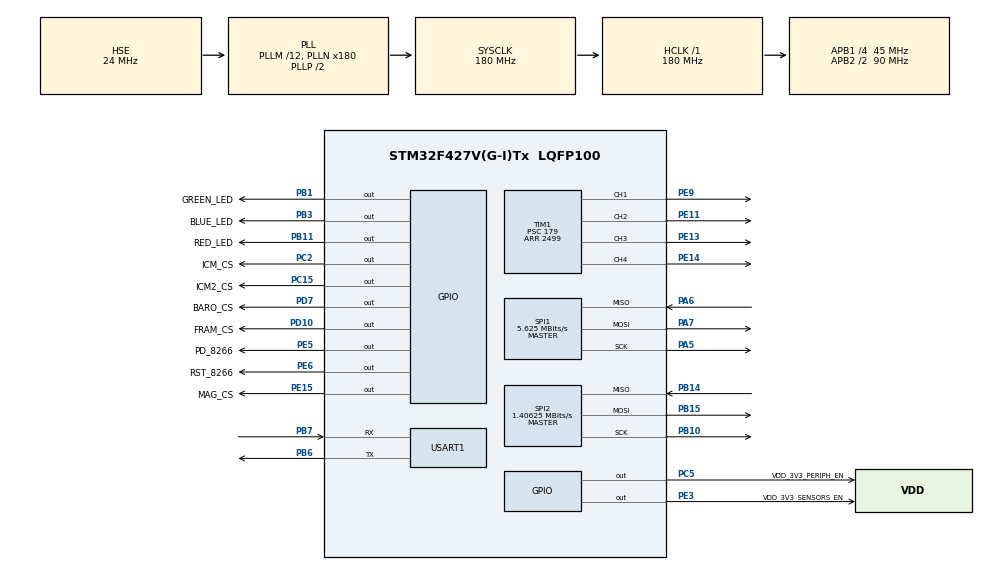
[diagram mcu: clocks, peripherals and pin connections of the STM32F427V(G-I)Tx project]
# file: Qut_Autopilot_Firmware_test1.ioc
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Mcu.Family=STM32F4
Mcu.Name=STM32F427V(G-I)Tx
Mcu.Package=LQFP100
NVIC.PriorityGroup=NVIC_PRIORITYGROUP_4
PA13.Mode=Serial_Wire
PA13.Signal=SYS_JTMS-SWDIO
PA14.Mode=Serial_Wire
PA14.Signal=SYS_JTCK-SWCLK
PA5.Mode=Full_Duplex_Master
PA5.Signal=SPI1_SCK
PA6.Mode=Full_Duplex_Master
PA6.Signal=SPI1_MISO
PA7.Mode=Full_Duplex_Master
PA7.Signal=SPI1_MOSI
PB1.GPIO_Label=GREEN_LED
PB1.PinState=GPIO_PIN_SET
PB1.Signal=GPIO_Output
PB10.Mode=Full_Duplex_Master
PB10.Signal=SPI2_SCK
PB11.GPIO_Label=RED_LED
PB11.PinState=GPIO_PIN_SET
PB11.Signal=GPIO_Output
PB14.Mode=Full_Duplex_Master
PB14.Signal=SPI2_MISO
PB15.Mode=Full_Duplex_Master
PB15.Signal=SPI2_MOSI
PB3.GPIO_Label=BLUE_LED
PB3.PinState=GPIO_PIN_SET
PB3.Signal=GPIO_Output
PB6.Mode=Asynchronous
PB6.Signal=USART1_TX
PB7.Mode=Asynchronous
PB7.Signal=USART1_RX
PC15/OSC32_OUT.GPIO_Label=ICM2_CS
PC15/OSC32_OUT.PinState=GPIO_PIN_SET
PC15/OSC32_OUT.Signal=GPIO_Output
PC2.GPIO_Label=ICM_CS
PC2.PinState=GPIO_PIN_SET
PC2.Signal=GPIO_Output
PC5.GPIO_Label=VDD_3V3_PERIPH_EN
PC5.PinState=GPIO_PIN_SET
PC5.Signal=GPIO_Output
PD10.GPIO_Label=FRAM_CS
PD10.PinState=GPIO_PIN_SET
PD10.Signal=GPIO_Output
PD7.GPIO_Label=BARO_CS
PD7.PinState=GPIO_PIN_SET
PD7.Signal=GPIO_Output
PE11.Signal=S_TIM1_CH2
PE13.Signal=S_TIM1_CH3
PE14.Signal=S_TIM1_CH4
PE15.GPIO_Label=MAG_CS
PE15.PinState=GPIO_PIN_SET
PE15.Signal=GPIO_Output
PE3.GPIO_Label=VDD_3V3_SENSORS_EN
PE3.PinState=GPIO_PIN_SET
PE3.Signal=GPIO_Output
PE5.GPIO_Label=PD_8266
PE5.Signal=GPIO_Output
PE6.GPIO_Label=RST_8266
PE6.Signal=GPIO_Output
PE9.Signal=S_TIM1_CH1
PH0/OSC_IN.Mode=HSE-External-Oscillator
PH0/OSC_IN.Signal=RCC_OSC_IN
PH1/OSC_OUT.Mode=HSE-External-Oscillator
PH1/OSC_OUT.Signal=RCC_OSC_OUT
ProjectManager.HeapSize=0x200
ProjectManager.StackSize=0x400
ProjectManager.TargetToolchain=STM32CubeIDE
RCC.48MHZClocksFreq_Value=90000000
RCC.AHBFreq_Value=180000000
RCC.APB1CLKDivider=RCC_HCLK_DIV4
RCC.APB1Freq_Value=45000000
RCC.APB1TimFreq_Value=90000000
RCC.APB2CLKDivider=RCC_HCLK_DIV2
RCC.APB2Freq_Value=90000000
RCC.APB2TimFreq_Value=180000000
RCC.CortexFreq_Value=180000000
RCC.HCLKFreq_Value=180000000
RCC.HSE_VALUE=24000000
RCC.HSI_VALUE=16000000
RCC.LSE_VALUE=32768
RCC.PLLM=12
RCC.PLLN=180
RCC.PLLSourceVirtual=RCC_PLLSOURCE_HSE
RCC.SYSCLKFreq_VALUE=180000000
RCC.SYSCLKSource=RCC_SYSCLKSOURCE_PLLCLK
RCC.VCOOutputFreq_Value=360000000
SH.S_TIM1_CH1.0=TIM1_CH1,PWM Generation1 CH1
SH.S_TIM1_CH2.0=TIM1_CH2,PWM Generation2 CH2
SH.S_TIM1_CH3.0=TIM1_CH3,PWM Generation3 CH3
SH.S_TIM1_CH4.0=TIM1_CH4,PWM Generation4 CH4
SPI1.BaudRatePrescaler=SPI_BAUDRATEPRESCALER_16
SPI1.CLKPhase=SPI_PHASE_2EDGE
SPI1.CLKPolarity=SPI_POLARITY_HIGH
SPI1.CalculateBaudRate=5.625 MBits/s
SPI1.Direction=SPI_DIRECTION_2LINES
SPI1.Mode=SPI_MODE_MASTER
SPI1.VirtualType=VM_MASTER
SPI2.BaudRatePrescaler=SPI_BAUDRATEPRESCALER_32
SPI2.CLKPhase=SPI_PHASE_2EDGE
SPI2.CLKPolarity=SPI_POLARITY_HIGH
SPI2.CalculateBaudRate=1.40625 MBits/s
SPI2.Direction=SPI_DIRECTION_2LINES
SPI2.Mode=SPI_MODE_MASTER
SPI2.VirtualType=VM_MASTER
TIM1.Channel-PWM\ Generation1\ CH1=TIM_CHANNEL_1
TIM1.Channel-PWM\ Generation2\ CH2=TIM_CHANNEL_2
TIM1.Channel-PWM\ Generation3\ CH3=TIM_CHANNEL_3
TIM1.Channel-PWM\ Generation4\ CH4=TIM_CHANNEL_4
TIM1.Period=2499
TIM1.Prescaler=179
TIM1.Pulse-PWM\ Generation2\ CH2=1000
TIM1.Pulse-PWM\ Generation3\ CH3=1000
TIM1.Pulse-PWM\ Generation4\ CH4=1000
USART1.VirtualMode=VM_ASYNC
board=custom

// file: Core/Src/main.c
/* USER CODE BEGIN Header */
/**
 * *****************************************************************************
 * @file           : main.c
 * @brief          : Main program body
 ******************************************************************************
 * @attention
 *
 * Copyright (c) 2026 STMicroelectronics.
 * All rights reserved.
 *
 * This software is licensed under terms that can be found in the LICENSE file
 * in the root directory of this software component.
 * If no LICENSE file comes with this software, it is provided AS-IS.
 *
 ******************************************************************************
 */
/* USER CODE END Header */
#include "main.h"

SPI_HandleTypeDef hspi1;
SPI_HandleTypeDef hspi2;

TIM_HandleTypeDef htim1;

UART_HandleTypeDef huart1;

/* USER CODE BEGIN PV */
int16_t x_offset = 0;
int16_t y_offset = 0;

extern TIM_HandleTypeDef htim1; // Reference the handle created by MX
/* USER CODE END PV */

void SystemClock_Config(void);
static void MX_GPIO_Init(void);
static void MX_SPI1_Init(void);
static void MX_SPI2_Init(void);
static void MX_USART1_UART_Init(void);
static void MX_TIM1_Init(void);

int main(void)
{

  /* MCU Configuration--------------------------------------------------------*/

  /* Reset of all peripherals, Initializes the Flash interface and the Systick. */
  HAL_Init();

  /* Configure the system clock */
  SystemClock_Config();

  /* Initialize all configured peripherals */
  MX_GPIO_Init();
  MX_SPI1_Init();
  MX_SPI2_Init();
  MX_USART1_UART_Init();
  MX_TIM1_Init();
  /* USER CODE BEGIN 2 */

  /* 1. SPI BUS SILENCE & POWER-UP */
  // Silence SPI1 (Main Sensors)
  HAL_GPIO_WritePin(GPIOC, ICM_CS_Pin, GPIO_PIN_SET);        // PC2 [cite: 152]
  HAL_GPIO_WritePin(GPIOC, ICM2_CS_Pin, GPIO_PIN_SET);       // PC15 [cite: 217]
  HAL_GPIO_WritePin(GPIOE, MAG_CS_Pin, GPIO_PIN_SET);        // PE14 [cite: 284]

  // Silence SPI2 (Baro & FRAM) - CRITICAL to prevent bus noise
  HAL_GPIO_WritePin(GPIOD, BARO_CS_Pin, GPIO_PIN_SET);       // PD7 [cite: 177]
  HAL_GPIO_WritePin(GPIOD, FRAM_CS_Pin, GPIO_PIN_SET);       // PD10 (Corrected FRAM_CS)

  // LEDs OFF (Active-Low)
  HAL_GPIO_WritePin(GPIOB, GREEN_LED_Pin|RED_LED_Pin|BLUE_LED_Pin, GPIO_PIN_SET);

  // Enable sensor power rails
  HAL_GPIO_WritePin(GPIOE, VDD_3V3_SENSORS_EN_Pin, GPIO_PIN_SET); // PE3 [cite: 233]
  HAL_GPIO_WritePin(GPIOC, VDD_3V3_PERIPH_EN_Pin, GPIO_PIN_SET);  // PC4 [cite: 165]
  HAL_Delay(200); // Stabilization time

  uint8_t id_reg, id_val;
  uint16_t C[7]; // MS5611 Calibration coefficients
  /* --- SPI1 TESTS --- */
  // ICM-42688-P Test
  uint8_t reset_42688[2] = {0x11, 0x01}; // Soft Reset
  HAL_GPIO_WritePin(GPIOC, ICM_CS_Pin, GPIO_PIN_RESET);
  HAL_SPI_Transmit(&hspi1, reset_42688, 2, 10);
  HAL_GPIO_WritePin(GPIOC, ICM_CS_Pin, GPIO_PIN_SET);
  HAL_Delay(50);

  id_reg = 0x75 | 0x80;
  HAL_GPIO_WritePin(GPIOC, ICM_CS_Pin, GPIO_PIN_RESET);
  HAL_SPI_Transmit(&hspi1, &id_reg, 1, 10);
  HAL_SPI_Receive(&hspi1, &id_val, 1, 10);
  HAL_GPIO_WritePin(GPIOC, ICM_CS_Pin, GPIO_PIN_SET);
  if (id_val != 0x47) { while(1) { HAL_GPIO_TogglePin(GPIOB, RED_LED_Pin|GREEN_LED_Pin); HAL_Delay(200); } }

  // ICM-20608 Test
  HAL_GPIO_WritePin(GPIOC, ICM2_CS_Pin, GPIO_PIN_RESET);
  HAL_SPI_Transmit(&hspi1, &id_reg, 1, 10);
  HAL_SPI_Receive(&hspi1, &id_val, 1, 10);
  HAL_GPIO_WritePin(GPIOC, ICM2_CS_Pin, GPIO_PIN_SET);
  if (id_val != 0xAF) { while(1) { HAL_GPIO_TogglePin(GPIOB, GREEN_LED_Pin|BLUE_LED_Pin); HAL_Delay(200); } }

  /* 4. SENSOR 3: LIS3MDL MAGNETOMETER (PE14) */

  // Step A: Soft Reset & Reboot Memory
  uint8_t mag_reset[2] = {0x21, 0x04 | 0x08}; // SOFT_RST + REBOOT [cite: 1611, 1612]
  HAL_GPIO_WritePin(GPIOE, MAG_CS_Pin, GPIO_PIN_RESET);
  HAL_SPI_Transmit(&hspi1, mag_reset, 2, 10);
  HAL_GPIO_WritePin(GPIOE, MAG_CS_Pin, GPIO_PIN_SET);
  HAL_Delay(50);

  // Step B: WAKE UP - Set Operating Mode to Continuous [CRITICAL]
  // CTRL_REG3 (22h), MD[1:0] = 00
  uint8_t mag_wakeup[2] = {0x22, 0x00};
  HAL_GPIO_WritePin(GPIOE, MAG_CS_Pin, GPIO_PIN_RESET);
  HAL_SPI_Transmit(&hspi1, mag_wakeup, 2, 10);
  HAL_GPIO_WritePin(GPIOE, MAG_CS_Pin, GPIO_PIN_SET);
  HAL_Delay(10); // Small settle time

  // Step C: Read WHO_AM_I (0Fh)
  id_reg = 0x0F | 0x80; // bit 0 = 1 for READ [cite: 1490]
  id_val = 0;
  HAL_GPIO_WritePin(GPIOE, MAG_CS_Pin, GPIO_PIN_RESET);
  HAL_SPI_Transmit(&hspi1, &id_reg, 1, 10);
  HAL_SPI_Receive(&hspi1, &id_val, 1, 10);
  HAL_GPIO_WritePin(GPIOE, MAG_CS_Pin, GPIO_PIN_SET);

  if (id_val != 0x3D) { // Expected value is 0x3D [cite: 1558, 1584]
      while(1) {
          HAL_GPIO_TogglePin(GPIOB, RED_LED_Pin | BLUE_LED_Pin);
          HAL_Delay(200);
      }
  }

  /* --- SPI2 TESTS (BARO & FRAM) --- */
  // MS5611 Barometer Reset & PROM Check
  /* 5. MS5611 BAROMETER (SPI2) */
  uint8_t baro_reset = 0x1E;
  HAL_GPIO_WritePin(GPIOD, BARO_CS_Pin, GPIO_PIN_RESET);
  HAL_SPI_Transmit(&hspi2, &baro_reset, 1, 10);
  HAL_GPIO_WritePin(GPIOD, BARO_CS_Pin, GPIO_PIN_SET);
  HAL_Delay(20);

  // Read PROM Calibration Coefficients C1-C6
  for (uint8_t i = 1; i <= 6; i++) {
      uint8_t cmd = 0xA0 + (i * 2);
      uint8_t data[2];
      HAL_GPIO_WritePin(GPIOD, BARO_CS_Pin, GPIO_PIN_RESET);
      HAL_SPI_Transmit(&hspi2, &cmd, 1, 10);
      HAL_SPI_Receive(&hspi2, data, 2, 10);
      HAL_GPIO_WritePin(GPIOD, BARO_CS_Pin, GPIO_PIN_SET);
      C[i] = (data[0] << 8) | data[1];
  }
  if (C[1] == 0 || C[1] == 0xFFFF) { HAL_GPIO_WritePin(GPIOB, RED_LED_Pin, GPIO_PIN_RESET); while(1); }
  /* --- FM25V02A FRAM SYSTEM TEST (PD10) --- */

  // 1. Recovery & Wakeup
  // Ensures the chip exits Sleep Mode (B9h) or a mid-transaction hang.
  HAL_GPIO_WritePin(GPIOD, FRAM_CS_Pin, GPIO_PIN_RESET);
  HAL_Delay(1);
  HAL_GPIO_WritePin(GPIOD, FRAM_CS_Pin, GPIO_PIN_SET);
  HAL_Delay(5); // tREC recovery time

  // 2. Identity Verification (RDID)
  // Scans for Manufacturer ID 0x04 (Cypress) or 0xC2 (Ramtron)
  uint8_t rdid_tx[12] = {0x9F};
  uint8_t rdid_rx[12] = {0};
  uint8_t fram_identified = 0;

  HAL_GPIO_WritePin(GPIOD, FRAM_CS_Pin, GPIO_PIN_RESET);
  HAL_SPI_TransmitReceive(&hspi2, rdid_tx, rdid_rx, 12, 50);
  HAL_GPIO_WritePin(GPIOD, FRAM_CS_Pin, GPIO_PIN_SET);

  for (int i = 1; i < 12; i++) {
      if (rdid_rx[i] == 0x04 || rdid_rx[i] == 0xC2) {
          fram_identified = 1;
          break;
      }
  }

  if (!fram_identified) {
      while(1) { // Error: Fast Red Flash (ID Mismatch)
          HAL_GPIO_TogglePin(GPIOB, GPIO_PIN_11); // RED_LED
          HAL_Delay(100);
      }
  }

  // 3. Memory Integrity Check (Write/Read)
  // Verifies that the memory cells are non-volatile and writable.
  uint8_t test_addr[2] = {0x00, 0x01}; // Address 0x0001
  uint8_t test_data = 0xBC;            // Test pattern
  uint8_t read_back = 0;
  uint8_t cmd_wren = 0x06;
  uint8_t cmd_write[4] = {0x02, test_addr[0], test_addr[1], test_data};
  uint8_t cmd_read[3] = {0x03, test_addr[0], test_addr[1]};

  // Write Sequence
  HAL_GPIO_WritePin(GPIOD, FRAM_CS_Pin, GPIO_PIN_RESET);
  HAL_SPI_Transmit(&hspi2, &cmd_wren, 1, 10);
  HAL_GPIO_WritePin(GPIOD, FRAM_CS_Pin, GPIO_PIN_SET);

  HAL_GPIO_WritePin(GPIOD, FRAM_CS_Pin, GPIO_PIN_RESET);
  HAL_SPI_Transmit(&hspi2, cmd_write, 4, 10);
  HAL_GPIO_WritePin(GPIOD, FRAM_CS_Pin, GPIO_PIN_SET);

  HAL_Delay(5);

  // Read Sequence
  HAL_GPIO_WritePin(GPIOD, FRAM_CS_Pin, GPIO_PIN_RESET);
  HAL_SPI_Transmit(&hspi2, cmd_read, 3, 10);
  HAL_SPI_Receive(&hspi2, &read_back, 1, 10);
  HAL_GPIO_WritePin(GPIOD, FRAM_CS_Pin, GPIO_PIN_SET);

  if (read_back != test_data) {
      while(1) { // Error: Flash Blue (Write/Read Failure)
          HAL_GPIO_TogglePin(GPIOB, GPIO_PIN_0); // BLUE_LED
          HAL_Delay(200);
      }
  }

  // SUCCESS: SOLID WHITE
  HAL_GPIO_WritePin(GPIOB, RED_LED_Pin|GREEN_LED_Pin|BLUE_LED_Pin, GPIO_PIN_RESET);
  HAL_Delay(2000);
  HAL_GPIO_WritePin(GPIOB, RED_LED_Pin|GREEN_LED_Pin|BLUE_LED_Pin, GPIO_PIN_SET);

  /* --- BLHELI_32 ESC INITIALIZATION (400Hz Protocol) --- */
  /**
    * @brief Sets Motor PWM for BLHeli_32 (1000-2000us Range)
    * @param channel: TIM_CHANNEL_x
    * @param pulse_us: 1000 (Stop) to 2000 (Full)
    */
  void Set_Motor_PWM(uint32_t channel, uint16_t pulse_us)
  {
      // Safety Clamp: BLHeli range is strictly 1000-2000us [cite: 1184]
      if (pulse_us < 1000) pulse_us = 1000;
      if (pulse_us > 2000) pulse_us = 2000;

      __HAL_TIM_SET_COMPARE(&htim1, channel, pulse_us);
  }

  MX_TIM1_Init(); // Ensure this is configured with ARR=2499 for 400Hz

  // 1. Start PWM Generation
  // The ESC detects the input signal type automatically at power up.
  HAL_TIM_PWM_Start(&htim1, TIM_CHANNEL_1);
  HAL_TIM_PWM_Start(&htim1, TIM_CHANNEL_2);
  HAL_TIM_PWM_Start(&htim1, TIM_CHANNEL_3);
  HAL_TIM_PWM_Start(&htim1, TIM_CHANNEL_4);

  // 2. ARMING SEQUENCE [cite: 1246]
  // The manual specifies:
  // - Power on: 3 Beeps
  // - Signal Detected: 1 Low Beep [cite: 1255]
  // - Zero Throttle Detected: 1 High Beep [cite: 1256]

  // Step A: Send "Zero Throttle" (1000us) to satisfy the "Zero throttle detected" condition.
  // Range is 1000us to 2000us.
  Set_Motor_PWM(TIM_CHANNEL_1, 1000);
  Set_Motor_PWM(TIM_CHANNEL_2, 1000);
  Set_Motor_PWM(TIM_CHANNEL_3, 1000);
  Set_Motor_PWM(TIM_CHANNEL_4, 1000);

  // Step B: Wait for ESC Arming Beeps
  // Manual suggests the sequence takes a few seconds.
  // We wait 3000ms to allow the "Low Beep" (Signal Found) and "High Beep" (Armed).
  HAL_Delay(3000);

  /* --- MAIN FLIGHT LOOP TEST --- */
  // Spin motors at low RPM (Idling)
  // Note: Min throttle must be > 1000us + 70us deadband
  uint16_t idle_throttle = 1200;

  Set_Motor_PWM(TIM_CHANNEL_1, idle_throttle);
  Set_Motor_PWM(TIM_CHANNEL_2, idle_throttle);
  Set_Motor_PWM(TIM_CHANNEL_3, idle_throttle);
  Set_Motor_PWM(TIM_CHANNEL_4, idle_throttle);

  /* USER CODE END 2 */

  /* USER CODE END 2 */

  /* Infinite loop */
  while (1)
  {

  }
}

void SystemClock_Config(void)
{
  RCC_OscInitTypeDef RCC_OscInitStruct = {0};
  RCC_ClkInitTypeDef RCC_ClkInitStruct = {0};

  /** Configure the main internal regulator output voltage
  */
  __HAL_RCC_PWR_CLK_ENABLE();
  __HAL_PWR_VOLTAGESCALING_CONFIG(PWR_REGULATOR_VOLTAGE_SCALE1);

  /** Initializes the RCC Oscillators according to the specified parameters
  * in the RCC_OscInitTypeDef structure.
  */
  RCC_OscInitStruct.OscillatorType = RCC_OSCILLATORTYPE_HSE;
  RCC_OscInitStruct.HSEState = RCC_HSE_ON;
  RCC_OscInitStruct.PLL.PLLState = RCC_PLL_ON;
  RCC_OscInitStruct.PLL.PLLSource = RCC_PLLSOURCE_HSE;
  RCC_OscInitStruct.PLL.PLLM = 12;
  RCC_OscInitStruct.PLL.PLLN = 180;
  RCC_OscInitStruct.PLL.PLLP = RCC_PLLP_DIV2;
  RCC_OscInitStruct.PLL.PLLQ = 4;
  if (HAL_RCC_OscConfig(&RCC_OscInitStruct) != HAL_OK)
  {
    Error_Handler();
  }

  /** Activate the Over-Drive mode
  */
  if (HAL_PWREx_EnableOverDrive() != HAL_OK)
  {
    Error_Handler();
  }

  /** Initializes the CPU, AHB and APB buses clocks
  */
  RCC_ClkInitStruct.ClockType = RCC_CLOCKTYPE_HCLK|RCC_CLOCKTYPE_SYSCLK
                              |RCC_CLOCKTYPE_PCLK1|RCC_CLOCKTYPE_PCLK2;
  RCC_ClkInitStruct.SYSCLKSource = RCC_SYSCLKSOURCE_PLLCLK;
  RCC_ClkInitStruct.AHBCLKDivider = RCC_SYSCLK_DIV1;
  RCC_ClkInitStruct.APB1CLKDivider = RCC_HCLK_DIV4;
  RCC_ClkInitStruct.APB2CLKDivider = RCC_HCLK_DIV2;

  if (HAL_RCC_ClockConfig(&RCC_ClkInitStruct, FLASH_LATENCY_5) != HAL_OK)
  {
    Error_Handler();
  }
}

static void MX_SPI1_Init(void)
{

  /* SPI1 parameter configuration*/
  hspi1.Instance = SPI1;
  hspi1.Init.Mode = SPI_MODE_MASTER;
  hspi1.Init.Direction = SPI_DIRECTION_2LINES;
  hspi1.Init.DataSize = SPI_DATASIZE_8BIT;
  hspi1.Init.CLKPolarity = SPI_POLARITY_HIGH;
  hspi1.Init.CLKPhase = SPI_PHASE_2EDGE;
  hspi1.Init.NSS = SPI_NSS_SOFT;
  hspi1.Init.BaudRatePrescaler = SPI_BAUDRATEPRESCALER_16;
  hspi1.Init.FirstBit = SPI_FIRSTBIT_MSB;
  hspi1.Init.TIMode = SPI_TIMODE_DISABLE;
  hspi1.Init.CRCCalculation = SPI_CRCCALCULATION_DISABLE;
  hspi1.Init.CRCPolynomial = 10;
  if (HAL_SPI_Init(&hspi1) != HAL_OK)
  {
    Error_Handler();
  }

}

static void MX_SPI2_Init(void)
{

  /* SPI2 parameter configuration*/
  hspi2.Instance = SPI2;
  hspi2.Init.Mode = SPI_MODE_MASTER;
  hspi2.Init.Direction = SPI_DIRECTION_2LINES;
  hspi2.Init.DataSize = SPI_DATASIZE_8BIT;
  hspi2.Init.CLKPolarity = SPI_POLARITY_HIGH;
  hspi2.Init.CLKPhase = SPI_PHASE_2EDGE;
  hspi2.Init.NSS = SPI_NSS_SOFT;
  hspi2.Init.BaudRatePrescaler = SPI_BAUDRATEPRESCALER_32;
  hspi2.Init.FirstBit = SPI_FIRSTBIT_MSB;
  hspi2.Init.TIMode = SPI_TIMODE_DISABLE;
  hspi2.Init.CRCCalculation = SPI_CRCCALCULATION_DISABLE;
  hspi2.Init.CRCPolynomial = 10;
  if (HAL_SPI_Init(&hspi2) != HAL_OK)
  {
    Error_Handler();
  }

}

static void MX_TIM1_Init(void)
{

  TIM_MasterConfigTypeDef sMasterConfig = {0};
  TIM_OC_InitTypeDef sConfigOC = {0};
  TIM_BreakDeadTimeConfigTypeDef sBreakDeadTimeConfig = {0};

  htim1.Instance = TIM1;
  htim1.Init.Prescaler = 179;
  htim1.Init.CounterMode = TIM_COUNTERMODE_UP;
  htim1.Init.Period = 2499;
  htim1.Init.ClockDivision = TIM_CLOCKDIVISION_DIV1;
  htim1.Init.RepetitionCounter = 0;
  htim1.Init.AutoReloadPreload = TIM_AUTORELOAD_PRELOAD_DISABLE;
  if (HAL_TIM_PWM_Init(&htim1) != HAL_OK)
  {
    Error_Handler();
  }
  sMasterConfig.MasterOutputTrigger = TIM_TRGO_RESET;
  sMasterConfig.MasterSlaveMode = TIM_MASTERSLAVEMODE_DISABLE;
  if (HAL_TIMEx_MasterConfigSynchronization(&htim1, &sMasterConfig) != HAL_OK)
  {
    Error_Handler();
  }
  sConfigOC.OCMode = TIM_OCMODE_PWM1;
  sConfigOC.Pulse = 0;
  sConfigOC.OCPolarity = TIM_OCPOLARITY_HIGH;
  sConfigOC.OCNPolarity = TIM_OCNPOLARITY_HIGH;
  sConfigOC.OCFastMode = TIM_OCFAST_DISABLE;
  sConfigOC.OCIdleState = TIM_OCIDLESTATE_RESET;
  sConfigOC.OCNIdleState = TIM_OCNIDLESTATE_RESET;
  if (HAL_TIM_PWM_ConfigChannel(&htim1, &sConfigOC, TIM_CHANNEL_1) != HAL_OK)
  {
    Error_Handler();
  }
  sConfigOC.Pulse = 1000;
  if (HAL_TIM_PWM_ConfigChannel(&htim1, &sConfigOC, TIM_CHANNEL_2) != HAL_OK)
  {
    Error_Handler();
  }
  if (HAL_TIM_PWM_ConfigChannel(&htim1, &sConfigOC, TIM_CHANNEL_3) != HAL_OK)
  {
    Error_Handler();
  }
  if (HAL_TIM_PWM_ConfigChannel(&htim1, &sConfigOC, TIM_CHANNEL_4) != HAL_OK)
  {
    Error_Handler();
  }
  sBreakDeadTimeConfig.OffStateRunMode = TIM_OSSR_DISABLE;
  sBreakDeadTimeConfig.OffStateIDLEMode = TIM_OSSI_DISABLE;
  sBreakDeadTimeConfig.LockLevel = TIM_LOCKLEVEL_OFF;
  sBreakDeadTimeConfig.DeadTime = 0;
  sBreakDeadTimeConfig.BreakState = TIM_BREAK_DISABLE;
  sBreakDeadTimeConfig.BreakPolarity = TIM_BREAKPOLARITY_HIGH;
  sBreakDeadTimeConfig.AutomaticOutput = TIM_AUTOMATICOUTPUT_DISABLE;
  if (HAL_TIMEx_ConfigBreakDeadTime(&htim1, &sBreakDeadTimeConfig) != HAL_OK)
  {
    Error_Handler();
  }
  HAL_TIM_MspPostInit(&htim1);

}

static void MX_USART1_UART_Init(void)
{

  huart1.Instance = USART1;
  huart1.Init.BaudRate = 115200;
  huart1.Init.WordLength = UART_WORDLENGTH_8B;
  huart1.Init.StopBits = UART_STOPBITS_1;
  huart1.Init.Parity = UART_PARITY_NONE;
  huart1.Init.Mode = UART_MODE_TX_RX;
  huart1.Init.HwFlowCtl = UART_HWCONTROL_NONE;
  huart1.Init.OverSampling = UART_OVERSAMPLING_16;
  if (HAL_UART_Init(&huart1) != HAL_OK)
  {
    Error_Handler();
  }

}

static void MX_GPIO_Init(void)
{
  GPIO_InitTypeDef GPIO_InitStruct = {0};

  /* GPIO Ports Clock Enable */
  __HAL_RCC_GPIOE_CLK_ENABLE();
  __HAL_RCC_GPIOC_CLK_ENABLE();
  __HAL_RCC_GPIOH_CLK_ENABLE();
  __HAL_RCC_GPIOA_CLK_ENABLE();
  __HAL_RCC_GPIOB_CLK_ENABLE();
  __HAL_RCC_GPIOD_CLK_ENABLE();

  /*Configure GPIO pin Output Level */
  HAL_GPIO_WritePin(GPIOE, VDD_3V3_SENSORS_EN_Pin|MAG_CS_Pin, GPIO_PIN_SET);

  /*Configure GPIO pin Output Level */
  HAL_GPIO_WritePin(GPIOE, PD_8266_Pin|RST_8266_Pin, GPIO_PIN_RESET);

  /*Configure GPIO pin Output Level */
  HAL_GPIO_WritePin(GPIOC, ICM2_CS_Pin|ICM_CS_Pin|VDD_3V3_PERIPH_EN_Pin, GPIO_PIN_SET);

  /*Configure GPIO pin Output Level */
  HAL_GPIO_WritePin(GPIOB, GREEN_LED_Pin|RED_LED_Pin|BLUE_LED_Pin, GPIO_PIN_SET);

  /*Configure GPIO pin Output Level */
  HAL_GPIO_WritePin(GPIOD, FRAM_CS_Pin|BARO_CS_Pin, GPIO_PIN_SET);

  /*Configure GPIO pins : VDD_3V3_SENSORS_EN_Pin PD_8266_Pin RST_8266_Pin MAG_CS_Pin */
  GPIO_InitStruct.Pin = VDD_3V3_SENSORS_EN_Pin|PD_8266_Pin|RST_8266_Pin|MAG_CS_Pin;
  GPIO_InitStruct.Mode = GPIO_MODE_OUTPUT_PP;
  GPIO_InitStruct.Pull = GPIO_NOPULL;
  GPIO_InitStruct.Speed = GPIO_SPEED_FREQ_LOW;
  HAL_GPIO_Init(GPIOE, &GPIO_InitStruct);

  /*Configure GPIO pins : ICM2_CS_Pin ICM_CS_Pin VDD_3V3_PERIPH_EN_Pin */
  GPIO_InitStruct.Pin = ICM2_CS_Pin|ICM_CS_Pin|VDD_3V3_PERIPH_EN_Pin;
  GPIO_InitStruct.Mode = GPIO_MODE_OUTPUT_PP;
  GPIO_InitStruct.Pull = GPIO_NOPULL;
  GPIO_InitStruct.Speed = GPIO_SPEED_FREQ_LOW;
  HAL_GPIO_Init(GPIOC, &GPIO_InitStruct);

  /*Configure GPIO pins : GREEN_LED_Pin RED_LED_Pin BLUE_LED_Pin */
  GPIO_InitStruct.Pin = GREEN_LED_Pin|RED_LED_Pin|BLUE_LED_Pin;
  GPIO_InitStruct.Mode = GPIO_MODE_OUTPUT_PP;
  GPIO_InitStruct.Pull = GPIO_NOPULL;
  GPIO_InitStruct.Speed = GPIO_SPEED_FREQ_LOW;
  HAL_GPIO_Init(GPIOB, &GPIO_InitStruct);

  /*Configure GPIO pins : FRAM_CS_Pin BARO_CS_Pin */
  GPIO_InitStruct.Pin = FRAM_CS_Pin|BARO_CS_Pin;
  GPIO_InitStruct.Mode = GPIO_MODE_OUTPUT_PP;
  GPIO_InitStruct.Pull = GPIO_NOPULL;
  GPIO_InitStruct.Speed = GPIO_SPEED_FREQ_LOW;
  HAL_GPIO_Init(GPIOD, &GPIO_InitStruct);

}

void Error_Handler(void)
{
    __disable_irq();
    while (1)
    {
    }
}
#ifdef USE_FULL_ASSERT
/**
  * @brief  Reports the name of the source file and the source line number
  *         where the assert_param error has occurred.
  * @param  file: pointer to the source file name
  * @param  line: assert_param error line source number
  * @retval None
  */
void assert_failed(uint8_t *file, uint32_t line)
{
  /* USER CODE BEGIN 6 */
    /* User can add his own implementation to report the file name and line number,
     *     ex: printf("Wrong parameters value: file %s on line %d\r\n", file, line) */
  /* USER CODE END 6 */
}
#endif /* USE_FULL_ASSERT */
